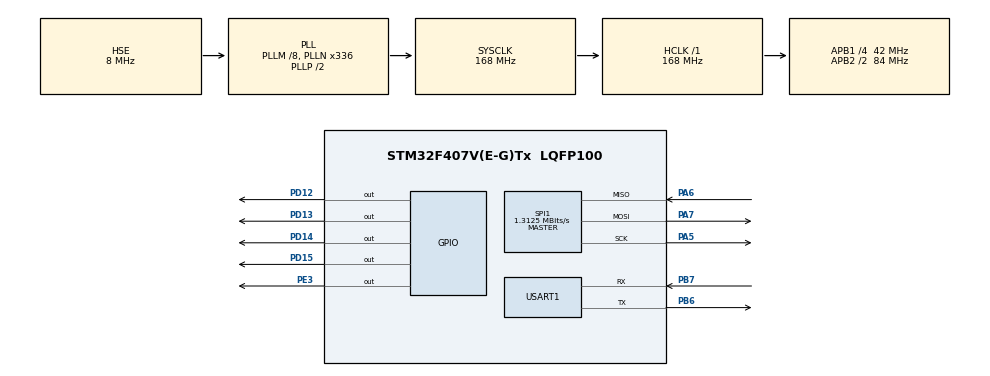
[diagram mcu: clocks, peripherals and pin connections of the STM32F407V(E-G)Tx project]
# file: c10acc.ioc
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Mcu.Family=STM32F4
Mcu.Name=STM32F407V(E-G)Tx
Mcu.Package=LQFP100
NVIC.PriorityGroup=NVIC_PRIORITYGROUP_0
PA5.Mode=Full_Duplex_Master
PA5.Signal=SPI1_SCK
PA6.Mode=Full_Duplex_Master
PA6.Signal=SPI1_MISO
PA7.Mode=Full_Duplex_Master
PA7.Signal=SPI1_MOSI
PB6.Mode=Asynchronous
PB6.Signal=USART1_TX
PB7.Mode=Asynchronous
PB7.Signal=USART1_RX
PD12.Signal=GPIO_Output
PD13.Signal=GPIO_Output
PD14.Signal=GPIO_Output
PD15.Signal=GPIO_Output
PE3.Signal=GPIO_Output
PH0-OSC_IN.Mode=HSE-External-Oscillator
PH0-OSC_IN.Signal=RCC_OSC_IN
PH1-OSC_OUT.Mode=HSE-External-Oscillator
PH1-OSC_OUT.Signal=RCC_OSC_OUT
ProjectManager.HeapSize=0x200
ProjectManager.StackSize=0x400
ProjectManager.TargetToolchain=EWARM V8.32
RCC.48MHZClocksFreq_Value=48000000
RCC.AHBFreq_Value=168000000
RCC.APB1CLKDivider=RCC_HCLK_DIV4
RCC.APB1Freq_Value=42000000
RCC.APB1TimFreq_Value=84000000
RCC.APB2CLKDivider=RCC_HCLK_DIV2
RCC.APB2Freq_Value=84000000
RCC.APB2TimFreq_Value=168000000
RCC.CortexFreq_Value=168000000
RCC.HCLKFreq_Value=168000000
RCC.HSE_VALUE=8000000
RCC.HSI_VALUE=16000000
RCC.LSE_VALUE=32768
RCC.PLLM=8
RCC.PLLN=336
RCC.PLLQ=7
RCC.PLLSourceVirtual=RCC_PLLSOURCE_HSE
RCC.SYSCLKFreq_VALUE=168000000
RCC.SYSCLKSource=RCC_SYSCLKSOURCE_PLLCLK
RCC.VCOOutputFreq_Value=336000000
SPI1.BaudRatePrescaler=SPI_BAUDRATEPRESCALER_64
SPI1.CalculateBaudRate=1.3125 MBits/s
SPI1.Direction=SPI_DIRECTION_2LINES
SPI1.Mode=SPI_MODE_MASTER
SPI1.VirtualType=VM_MASTER
USART1.VirtualMode=VM_ASYNC
board=STM32F407G-DISC1

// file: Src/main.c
/* USER CODE BEGIN Header */
/**
  ******************************************************************************
  * @file           : main.c
  * @brief          : Main program body
  ******************************************************************************
  * @attention
  *
  * <h2><center>&copy; Copyright (c) 2020 STMicroelectronics.
  * All rights reserved.</center></h2>
  *
  * This software component is licensed by ST under BSD 3-Clause license,
  * the "License"; You may not use this file except in compliance with the
  * License. You may obtain a copy of the License at:
  *                        opensource.org/licenses/BSD-3-Clause
  *
  ******************************************************************************
  */
/* USER CODE END Header */

#include "main.h"

SPI_HandleTypeDef hspi1;

UART_HandleTypeDef huart1;

/* USER CODE BEGIN PV */
uint8_t c;
int8_t x,y;
char buff[3]="R00";
/* USER CODE END PV */

void SystemClock_Config(void);
static void MX_GPIO_Init(void);
static void MX_SPI1_Init(void);
static void MX_USART1_UART_Init(void);
/* USER CODE BEGIN PFP */

void SPI_Tx(uint8_t adr,uint8_t date)
{
  HAL_GPIO_WritePin(GPIOE, GPIO_PIN_3,GPIO_PIN_RESET);
  HAL_SPI_Transmit(&hspi1, &adr,1,1);
  HAL_SPI_Transmit(&hspi1, &date,1,1);
  HAL_GPIO_WritePin(GPIOE, GPIO_PIN_3,GPIO_PIN_SET);
}

uint8_t SPI_Rx(uint8_t adr)
{
  adr=0x80|adr;
  HAL_GPIO_WritePin(GPIOE, GPIO_PIN_3,GPIO_PIN_RESET);
  HAL_SPI_Transmit(&hspi1, &adr,1,1);
  HAL_SPI_Receive(&hspi1, &c, 1, 1);
  HAL_GPIO_WritePin(GPIOE, GPIO_PIN_3,GPIO_PIN_SET);
  return c;
}

/* USER CODE END PFP */

int main(void)
{

  /* MCU Configuration--------------------------------------------------------*/

  /* Reset of all peripherals, Initializes the Flash interface and the Systick. */
  HAL_Init();

  /* Configure the system clock */
  SystemClock_Config();

  /* Initialize all configured peripherals */
  MX_GPIO_Init();
  MX_SPI1_Init();
  MX_USART1_UART_Init();
  /* USER CODE BEGIN 2 */
HAL_GPIO_WritePin(GPIOE, GPIO_PIN_3,GPIO_PIN_SET);
HAL_Delay(500);
SPI_Tx(0x20,0x67);
  /* USER CODE END 2 */

  /* Infinite loop */
  /* USER CODE BEGIN WHILE */
  while (1)
  {
    HAL_SPI_Transmit(&hspi1, &c,1,1);
    x=SPI_Rx(0x29);
    y=SPI_Rx(0x2b);

    if (y<-10) HAL_GPIO_WritePin(GPIOD, GPIO_PIN_15,GPIO_PIN_SET);
    else HAL_GPIO_WritePin(GPIOD, GPIO_PIN_15,GPIO_PIN_RESET);
    if (y>10) HAL_GPIO_WritePin(GPIOD, GPIO_PIN_13,GPIO_PIN_SET);
    else HAL_GPIO_WritePin(GPIOD, GPIO_PIN_13,GPIO_PIN_RESET);
    if (x<-10) HAL_GPIO_WritePin(GPIOD, GPIO_PIN_12,GPIO_PIN_SET);
    else HAL_GPIO_WritePin(GPIOD, GPIO_PIN_12,GPIO_PIN_RESET);
    if (x>10) HAL_GPIO_WritePin(GPIOD, GPIO_PIN_14,GPIO_PIN_SET);
    else HAL_GPIO_WritePin(GPIOD, GPIO_PIN_14,GPIO_PIN_RESET);
    buff[1]=x;
    buff[2]=y;
    HAL_UART_Transmit(&huart1, (uint8_t *)buff, 3,1);
    HAL_Delay(150);
    /* USER CODE END WHILE */

  }
}

void SystemClock_Config(void)
{
  RCC_OscInitTypeDef RCC_OscInitStruct = {0};
  RCC_ClkInitTypeDef RCC_ClkInitStruct = {0};

  /** Configure the main internal regulator output voltage
  */
  __HAL_RCC_PWR_CLK_ENABLE();
  __HAL_PWR_VOLTAGESCALING_CONFIG(PWR_REGULATOR_VOLTAGE_SCALE1);
  /** Initializes the CPU, AHB and APB busses clocks
  */
  RCC_OscInitStruct.OscillatorType = RCC_OSCILLATORTYPE_HSE;
  RCC_OscInitStruct.HSEState = RCC_HSE_ON;
  RCC_OscInitStruct.PLL.PLLState = RCC_PLL_ON;
  RCC_OscInitStruct.PLL.PLLSource = RCC_PLLSOURCE_HSE;
  RCC_OscInitStruct.PLL.PLLM = 8;
  RCC_OscInitStruct.PLL.PLLN = 336;
  RCC_OscInitStruct.PLL.PLLP = RCC_PLLP_DIV2;
  RCC_OscInitStruct.PLL.PLLQ = 7;
  if (HAL_RCC_OscConfig(&RCC_OscInitStruct) != HAL_OK)
  {
    Error_Handler();
  }
  /** Initializes the CPU, AHB and APB busses clocks
  */
  RCC_ClkInitStruct.ClockType = RCC_CLOCKTYPE_HCLK|RCC_CLOCKTYPE_SYSCLK
                              |RCC_CLOCKTYPE_PCLK1|RCC_CLOCKTYPE_PCLK2;
  RCC_ClkInitStruct.SYSCLKSource = RCC_SYSCLKSOURCE_PLLCLK;
  RCC_ClkInitStruct.AHBCLKDivider = RCC_SYSCLK_DIV1;
  RCC_ClkInitStruct.APB1CLKDivider = RCC_HCLK_DIV4;
  RCC_ClkInitStruct.APB2CLKDivider = RCC_HCLK_DIV2;

  if (HAL_RCC_ClockConfig(&RCC_ClkInitStruct, FLASH_LATENCY_5) != HAL_OK)
  {
    Error_Handler();
  }
}

static void MX_SPI1_Init(void)
{

  /* SPI1 parameter configuration*/
  hspi1.Instance = SPI1;
  hspi1.Init.Mode = SPI_MODE_MASTER;
  hspi1.Init.Direction = SPI_DIRECTION_2LINES;
  hspi1.Init.DataSize = SPI_DATASIZE_8BIT;
  hspi1.Init.CLKPolarity = SPI_POLARITY_LOW;
  hspi1.Init.CLKPhase = SPI_PHASE_1EDGE;
  hspi1.Init.NSS = SPI_NSS_SOFT;
  hspi1.Init.BaudRatePrescaler = SPI_BAUDRATEPRESCALER_64;
  hspi1.Init.FirstBit = SPI_FIRSTBIT_MSB;
  hspi1.Init.TIMode = SPI_TIMODE_DISABLE;
  hspi1.Init.CRCCalculation = SPI_CRCCALCULATION_DISABLE;
  hspi1.Init.CRCPolynomial = 10;
  if (HAL_SPI_Init(&hspi1) != HAL_OK)
  {
    Error_Handler();
  }

}

static void MX_USART1_UART_Init(void)
{

  huart1.Instance = USART1;
  huart1.Init.BaudRate = 115200;
  huart1.Init.WordLength = UART_WORDLENGTH_8B;
  huart1.Init.StopBits = UART_STOPBITS_1;
  huart1.Init.Parity = UART_PARITY_NONE;
  huart1.Init.Mode = UART_MODE_TX_RX;
  huart1.Init.HwFlowCtl = UART_HWCONTROL_NONE;
  huart1.Init.OverSampling = UART_OVERSAMPLING_16;
  if (HAL_UART_Init(&huart1) != HAL_OK)
  {
    Error_Handler();
  }

}

static void MX_GPIO_Init(void)
{
  GPIO_InitTypeDef GPIO_InitStruct = {0};

  /* GPIO Ports Clock Enable */
  __HAL_RCC_GPIOE_CLK_ENABLE();
  __HAL_RCC_GPIOH_CLK_ENABLE();
  __HAL_RCC_GPIOA_CLK_ENABLE();
  __HAL_RCC_GPIOD_CLK_ENABLE();
  __HAL_RCC_GPIOB_CLK_ENABLE();

  /*Configure GPIO pin Output Level */
  HAL_GPIO_WritePin(GPIOE, GPIO_PIN_3, GPIO_PIN_RESET);

  /*Configure GPIO pin Output Level */
  HAL_GPIO_WritePin(GPIOD, GPIO_PIN_12|GPIO_PIN_13|GPIO_PIN_14|GPIO_PIN_15, GPIO_PIN_RESET);

  /*Configure GPIO pin : PE3 */
  GPIO_InitStruct.Pin = GPIO_PIN_3;
  GPIO_InitStruct.Mode = GPIO_MODE_OUTPUT_PP;
  GPIO_InitStruct.Pull = GPIO_NOPULL;
  GPIO_InitStruct.Speed = GPIO_SPEED_FREQ_LOW;
  HAL_GPIO_Init(GPIOE, &GPIO_InitStruct);

  /*Configure GPIO pins : PD12 PD13 PD14 PD15 */
  GPIO_InitStruct.Pin = GPIO_PIN_12|GPIO_PIN_13|GPIO_PIN_14|GPIO_PIN_15;
  GPIO_InitStruct.Mode = GPIO_MODE_OUTPUT_PP;
  GPIO_InitStruct.Pull = GPIO_NOPULL;
  GPIO_InitStruct.Speed = GPIO_SPEED_FREQ_LOW;
  HAL_GPIO_Init(GPIOD, &GPIO_InitStruct);

}

void Error_Handler(void)
{
}

/************************ (C) COPYRIGHT STMicroelectronics *****END OF FILE****/
